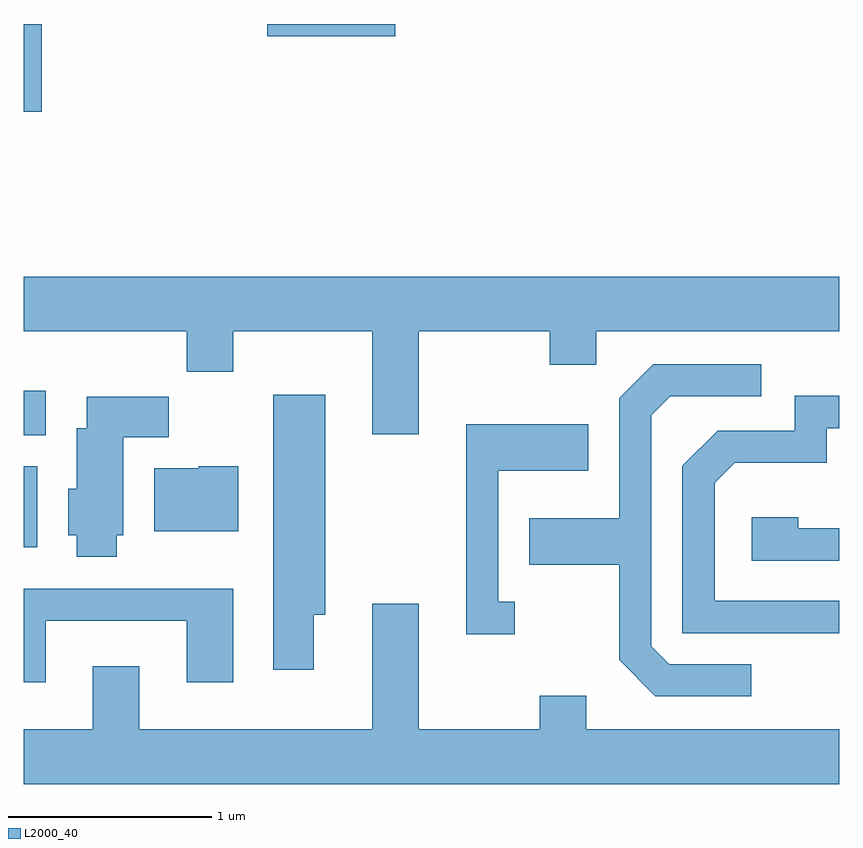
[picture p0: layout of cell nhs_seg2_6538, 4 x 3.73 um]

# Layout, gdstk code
import gdstk
lib = gdstk.Library(unit=1e-6, precision=1e-09)
def R(c, l, rs):  # rectangles x0, y0, x1, y1
    for r in rs: c.add(gdstk.rectangle(r[:2], r[2:], *l))
def P(c, l, *ps):  # polygons
    for p in ps: c.add(gdstk.Polygon(p, *l))
L2000_40 = (2000, 40)

nhs_seg2_6538 = lib.new_cell('nhs_seg2_6538')
R(nhs_seg2_6538, L2000_40, [(377.611,1067.236,377.679,1067.634), (377.611,1067.786,377.719,1068.004), (377.611,1069.371,377.699,1069.802), (378.806,1069.741,379.434,1069.802)])
P(nhs_seg2_6538, L2000_40, [(379.549,1068.296),(380.191,1068.296),(380.191,1068.131),(380.419,1068.131),(380.419,1068.296),(381.611,1068.296),(381.611,1068.564),(377.611,1068.564),(377.611,1068.296),(378.411,1068.296),(378.411,1068.096),(378.639,1068.096),(378.639,1068.296),(379.321,1068.296),(379.321,1067.791),(379.549,1067.791)],
  [(381.178,1066.664),(380.777,1066.664),(380.689,1066.752),(380.689,1067.884),(380.782,1067.976),(381.228,1067.976),(381.228,1068.134),(380.699,1068.134),(380.531,1067.967),(380.531,1067.379),(380.091,1067.379),(380.091,1067.151),(380.531,1067.151),(380.531,1066.684),(380.709,1066.506),(381.178,1066.506)],
  [(379.034,1066.906),(379.089,1066.906),(379.089,1067.984),(378.836,1067.984),(378.836,1066.636),(379.034,1066.636)],
  [(381.611,1066.974),(380.999,1066.974),(380.999,1067.554),(381.097,1067.651),(381.549,1067.651),(381.549,1067.821),(381.611,1067.821),(381.611,1067.979),(381.391,1067.979),(381.391,1067.809),(381.014,1067.809),(380.841,1067.637),(380.841,1066.816),(381.611,1066.816)],
  [(378.069,1067.296),(378.099,1067.296),(378.099,1067.776),(378.324,1067.776),(378.324,1067.974),(377.921,1067.974),(377.921,1067.819),(377.871,1067.819),(377.871,1067.524),(377.831,1067.524),(377.831,1067.296),(377.871,1067.296),(377.871,1067.191),(378.069,1067.191)],
  [(380.018,1066.969),(379.939,1066.969),(379.939,1067.611),(380.379,1067.611),(380.379,1067.839),(379.781,1067.839),(379.781,1066.811),(380.018,1066.811)],
  [(378.664,1067.634),(378.47,1067.634),(378.47,1067.624),(378.251,1067.624),(378.251,1067.316),(378.664,1067.316)],
  [(381.611,1067.329),(381.409,1067.329),(381.409,1067.384),(381.181,1067.384),(381.181,1067.171),(381.611,1067.171)],
  [(377.719,1066.876),(378.411,1066.876),(378.411,1066.576),(378.639,1066.576),(378.639,1067.034),(377.611,1067.034),(377.611,1066.576),(377.719,1066.576)],
  [(381.611,1066.344),(380.369,1066.344),(380.369,1066.509),(380.141,1066.509),(380.141,1066.344),(379.549,1066.344),(379.549,1066.959),(379.321,1066.959),(379.321,1066.344),(378.179,1066.344),(378.179,1066.654),(377.951,1066.654),(377.951,1066.344),(377.611,1066.344),(377.611,1066.076),(381.611,1066.076)])

lib.write_gds('nhs_seg2_6538.gds')
